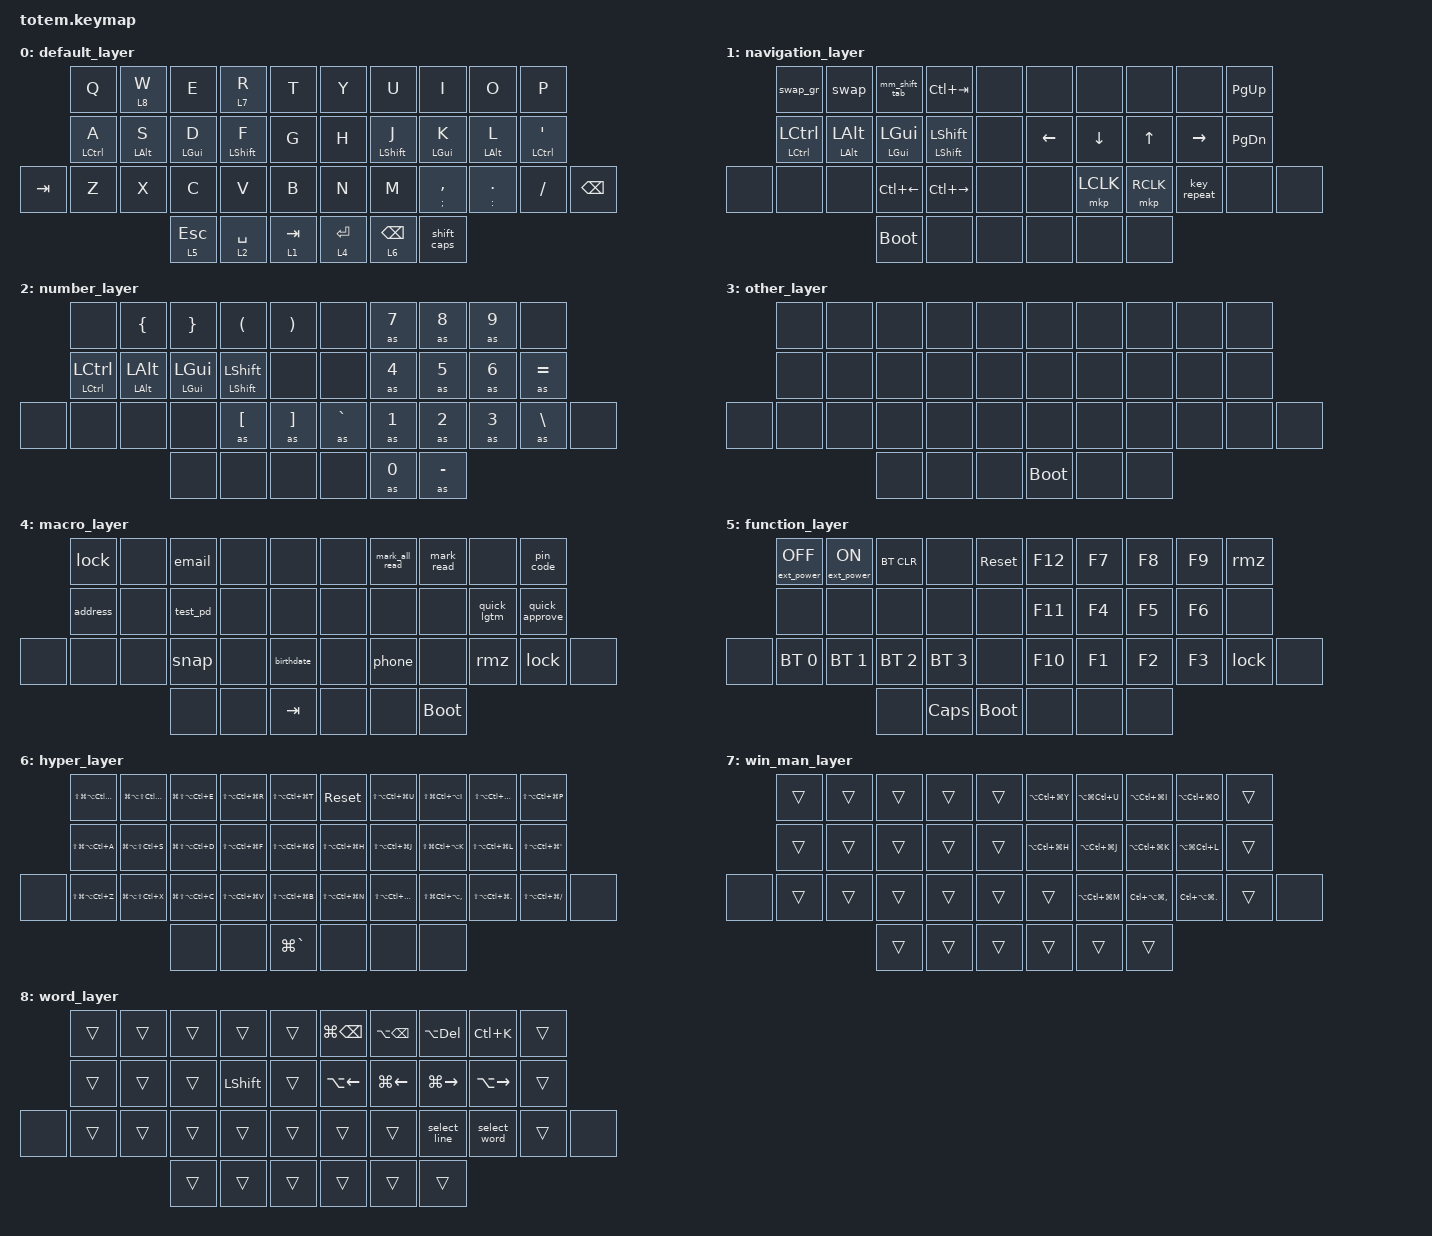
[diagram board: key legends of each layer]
//
//                                                        ▀▀▀▀▀     ▀▀▀▀▀          ▀▀█▀▀
//                                                        ▄▀▀▀▄  ▄  ▄▀▀▀▄  ▄  ▄▀▀▀▄  █  ▄▀▀▀▄
//                                                        █   █  █  █   █  █  █   █  █  █   █
//                                                         ▀▀▀   █   ▀▀▀   █   ▀▀▀   ▀   ▀▀▀
//                                                               █      ▄▄▄█▄▄▄    █   █  
//                                                               ▀      █  █  █     █▄█
//                                                             ▀▀▀▀▀    █  █  █      ▀
//                                                                      ▀  ▀  ▀
//
// ▄▄▄▄▄▄▄▄▄▄▄▄▄▄▄▄▄▄▄▄▄▄▄▄▄▄▄▄▄▄▄▄▄▄▄▄▄▄▄▄▄▄▄▄▄▄▄▄▄▄▄▄▄▄▄▄▄▄▄▄▄▄▄▄▄▄▄▄▄▄▄▄▄▄▄▄▄▄▄▄▄▄▄▄▄▄▄▄▄▄▄▄▄▄▄▄▄▄▄▄▄▄▄▄▄▄▄▄▄▄▄▄▄▄▄▄▄▄▄▄▄▄▄▄▄▄▄▄▄▄▄▄▄▄▄▄▄▄▄▄▄▄▄▄▄▄▄▄▄

#include <dt-bindings/zmk/mouse.h>
#include <behaviors.dtsi>
#include <dt-bindings/zmk/bt.h>
#include <dt-bindings/zmk/ext_power.h>
#include <dt-bindings/zmk/keys.h>
#include <dt-bindings/zmk/pointing.h>

&sk { release-after-ms = <60000>; };

/ {
    macros {
        lock: lock {
            compatible = "zmk,behavior-macro";
            #binding-cells = <0>;
            bindings = <&kp LG(LC(Q))>;
            label = "LOCK";
        };

        email: email {
            compatible = "zmk,behavior-macro";
            #binding-cells = <0>;
            bindings = <&kp S>;
            label = "EMAIL";
        };

        phone: phone {
            compatible = "zmk,behavior-macro";
            #binding-cells = <0>;
            bindings = <&kp N9>;
            label = "PHONE";
        };

        snap: snap {
            compatible = "zmk,behavior-macro";
            #binding-cells = <0>;
            bindings = <&kp LG(LC(LS(N4)))>;
            label = "SNAP";
        };

        address: address {
            compatible = "zmk,behavior-macro";
            #binding-cells = <0>;
            bindings = <&kp LS(A)>;
            label = "ADDRESS";
        };

        mark_all_read: mark_all_read {
            compatible = "zmk,behavior-macro";
            #binding-cells = <0>;
            bindings = <&kp STAR &kp U &kp LS(I) &kp STAR &kp N>;
            label = "MARK_ALL_READ";
        };

        smart_period: smart_period {
            compatible = "zmk,behavior-macro";
            #binding-cells = <0>;
            bindings = <&kp DOT &sl 0>;
            label = "SMART_PERIOD";
        };

        smart_qmark: smart_qmark {
            compatible = "zmk,behavior-macro";
            #binding-cells = <0>;
            bindings = <&kp QMARK &sl 0>;
            label = "SMART_QMARK";
        };

        smart_space: smart_space {
            compatible = "zmk,behavior-macro";
            #binding-cells = <0>;
            bindings = <&kp SPACE &fast_sk LSHIFT>;
            label = "SMART_SPACE";
        };

        quick_approve: quick_approve {
            compatible = "zmk,behavior-macro";
            #binding-cells = <0>;
            bindings =
                <&macro_wait_time 100>,
                <&kp LG(F)>,
                <&macro_wait_time 10>,
                <&kp LS(Q) &kp U &kp I &kp C &kp K &kp SPACE &kp LS(A) &kp P &kp P &kp R &kp O &kp V &kp E>,
                <&macro_wait_time 100>,
                <&kp RET &kp ESC &kp RET>;

            label = "QUICK_APPROVE";
        };

        quick_lgtm: quick_lgtm {
            compatible = "zmk,behavior-macro";
            #binding-cells = <0>;
            bindings =
                <&macro_wait_time 100>,
                <&kp LG(F)>,
                <&macro_wait_time 10>,
                <&kp LS(Q) &kp U &kp I &kp C &kp K &kp SPACE &kp LS(L) &kp LS(G) &kp LS(T) &kp LS(M)>,
                <&macro_wait_time 100>,
                <&kp RET &kp ESC &kp RET>;

            label = "QUICK_LGTM";
        };

        select_word: select_word {
            compatible = "zmk,behavior-macro";
            #binding-cells = <0>;
            bindings = <&kp LA(RIGHT) &kp LA(LEFT) &kp LA(LS(RIGHT))>;
            label = "SELECT_WORD";
        };

        select_line: select_line {
            compatible = "zmk,behavior-macro";
            #binding-cells = <0>;
            bindings = <&kp LG(RIGHT) &kp LG(LEFT) &kp LS(LG(RIGHT))>;
            label = "SELECT_LINE";
        };

        test_pd: test_pd {
            compatible = "zmk,behavior-macro";
            #binding-cells = <0>;
            bindings = <&kp LS(D)>;
            label = "TEST_PD";
        };

        pin_code: pin_code {
            compatible = "zmk,behavior-macro";
            #binding-cells = <0>;
            bindings = <&kp N5>;
            label = "PIN_CODE";
        };

        birthdate: birthdate {
            compatible = "zmk,behavior-macro";
            #binding-cells = <0>;
            bindings = <&kp N1>;
            label = "BIRTHDATE";
        };

        rmz: rmz {
            compatible = "zmk,behavior-macro";
            #binding-cells = <0>;
            bindings = <&kp LS(Q)>;
            label = "RMZ";
        };

        shifted: macro_shifted_kp {
            #binding-cells = <1>;
            label = "MACRO_SHIFTED_KP";
            compatible = "zmk,behavior-macro-one-param";
            bindings =
                <&macro_press>,
                <&kp LSHFT &macro_param_1to1>,
                <&macro_tap>,
                <&kp MACRO_PLACEHOLDER>,
                <&macro_release>,
                <&kp LSHFT>;
        };

        as: autoshift {
            compatible = "zmk,behavior-macro-one-param";
            #binding-cells = <1>;
            label = "AUTOSHIFT_KP";
            bindings =
                <&macro_press>,
                <&macro_param_1to1 &macro_param_1to2 &as_ht MACRO_PLACEHOLDER MACRO_PLACEHOLDER>,
                <&macro_pause_for_release>,
                <&macro_release>,
                <&macro_param_1to1 &macro_param_1to2 &as_ht MACRO_PLACEHOLDER MACRO_PLACEHOLDER>;
        };

        m_release_key_twice: m_release_key_twice {
            compatible = "zmk,behavior-macro-one-param";
            #binding-cells = <1>;
            bindings =
                <&macro_release>,
                <&macro_param_1to1 &kp MACRO_PLACEHOLDER &macro_param_1to1 &kp MACRO_PLACEHOLDER>;

            label = "M_RELEASE_KEY_TWICE";
        };

        m_press_key_twice: m_press_key_twice {
            compatible = "zmk,behavior-macro-one-param";
            #binding-cells = <1>;
            bindings =
                <&macro_press>,
                <&macro_param_1to1 &kp MACRO_PLACEHOLDER &macro_param_1to1 &kp MACRO_PLACEHOLDER>,
                <&macro_pause_for_release>,
                <&macro_tap>,
                <&m_release_key_twice KP_NUMBER_0>;

            label = "M_PRESS_KEY_TWICE";
        };

        m_hold_mod_press_key: m_hold_mod_press_key {
            compatible = "zmk,behavior-macro-two-param";
            #binding-cells = <2>;
            bindings =
                <&macro_press>,
                <&macro_param_1to1 &kp MACRO_PLACEHOLDER>,
                <&macro_tap>,
                <&macro_param_2to1 &kp MACRO_PLACEHOLDER>;

            label = "M_HOLD_MOD_PRESS_KEY";
        };

        la: la {
            compatible = "zmk,behavior-macro-one-param";
            #binding-cells = <1>;
            bindings =
                <&macro_press>,
                <&macro_param_1to1 &mo MACRO_PLACEHOLDER>,
                <&macro_pause_for_release>,
                <&macro_release>,
                <&macro_param_1to1 &mo MACRO_PLACEHOLDER &kp LSHFT &kp LCTRL &kp LALT &kp LGUI>;

            label = "LA";
        };

        mark_read: mark_read {
            compatible = "zmk,behavior-macro";
            #binding-cells = <0>;
            bindings = <&kp LS(I) &kp STAR &kp N>;
            label = "MARK_READ";
        };
    };

    behaviors {
        hml: homerow_mods_left {
            compatible = "zmk,behavior-hold-tap";
            label = "HOMEROW_MODS_LEFT_HAND";
            bindings = <&kp>, <&kp>;

            #binding-cells = <2>;
            tapping-term-ms = <200>;
            hold-trigger-key-positions = <5 6 7 8 9 16 17 18 19 20 21 30 31 32 33 34 35 40 41 42 43>;
            quick-tap-ms = <175>;
            flavor = "tap-preferred";
            hold-trigger-on-release;
            require-prior-idle-ms = <0>;
        };

        hmr: homerow_mods_right {
            compatible = "zmk,behavior-hold-tap";
            label = "HOMEROW_MODS_RIGHT_HAND";
            bindings = <&kp>, <&kp>;

            #binding-cells = <2>;
            tapping-term-ms = <200>;
            hold-trigger-key-positions = <0 1 2 3 4 10 11 12 13 14 15 22 23 24 25 26 27 36 37 38 39>;
            quick-tap-ms = <175>;
            flavor = "tap-preferred";
            hold-trigger-on-release;
            require-prior-idle-ms = <50>;
        };

        fast_sk: fast_sticky_key {
            compatible = "zmk,behavior-sticky-key";
            label = "FAST_STICKY_KEY";
            bindings = <&kp>;
            #binding-cells = <1>;
            quick-release;
            release-after-ms = <1000>;
            ignore-modifiers;
        };

        caps_wrd: caps_wrd {
            compatible = "zmk,behavior-caps-word";
            label = "CAPS_WRD";
            #binding-cells = <0>;
            continue-list = <UNDERSCORE MINUS DELETE BACKSPACE>;
        };

        as_ht: autoshift_hold_tap {
            compatible = "zmk,behavior-hold-tap";
            label = "AUTOSHIFT_HOLD_TAP";
            #binding-cells = <2>;
            tapping-term-ms = <135>;
            flavor = "tap-preferred";
            bindings = <&shifted>, <&kp>;
        };

        shift_caps: shift_caps {
            compatible = "zmk,behavior-tap-dance";
            label = "SHIFT_CAPS";
            #binding-cells = <0>;
            bindings = <&smart_shift_lt 3 LEFT_SHIFT>, <&caps_wrd>;
        };

        sticky_ht: sticky_ht {
            compatible = "zmk,behavior-hold-tap";
            label = "STICKY_HT";
            bindings = <&kp>, <&fast_sk>;

            #binding-cells = <2>;
            tapping-term-ms = <200>;
            flavor = "tap-preferred";
        };

        swap: swapper {
            compatible = "zmk,behavior-tri-state";
            label = "SWAPPER";
            #binding-cells = <0>;
            bindings = <&kt LGUI>, <&kp TAB>, <&kt LGUI>;

            ignored-key-positions = <2>;
        };

        swap_gr: swapper_win {
            compatible = "zmk,behavior-tri-state";
            label = "WINDOW SWAPPER";
            #binding-cells = <0>;
            bindings = <&kt LGUI>, <&kp GRAVE>, <&kt LGUI>;
        };

        tabber: tabber {
            compatible = "zmk,behavior-tri-state";
            label = "TABBER";
            #binding-cells = <0>;
            bindings = <&kt LCTRL>, <&kp TAB>, <&kt LCTRL>;

            ignored-key-positions = <2>;
        };

        ht_kp: ht_kp {
            compatible = "zmk,behavior-hold-tap";
            label = "HT_KP";
            bindings = <&kp>, <&kp>;

            #binding-cells = <2>;
            tapping-term-ms = <100>;
            flavor = "tap-preferred";
        };

        mm_shift_tab: mm_shift_tab {
            compatible = "zmk,behavior-mod-morph";
            label = "MM_SHIFT_TAB";
            bindings = <&kp LC(LS(TAB))>, <&kp LS(TAB)>;

            #binding-cells = <0>;
            mods = <(MOD_LGUI|MOD_RGUI)>;
            keep-mods = <(MOD_LGUI|MOD_RGUI)>;
        };

        smart_shift_lt: smart_shift_lt {
            compatible = "zmk,behavior-hold-tap";
            label = "SMART_SHIFT_LT";
            bindings = <&lt>, <&fast_sk>;

            #binding-cells = <2>;
            tapping-term-ms = <200>;
            quick-tap-ms = <175>;
            flavor = "tap-preferred";
            hold-trigger-on-release;
            require-prior-idle-ms = <0>;
            hold-trigger-key-positions = <0 1 2 3 4 5 6 7 8 9 10 11 12 13 14 15 16 17 18 19 20 21 22 23 24 25 26 27 28 29 30 31 32 33 34 35 36 37 38 39 40 41 42 43>;
        };
    };

    combos { compatible = "zmk,combos"; };

    keymap {
        compatible = "zmk,keymap";

        default_layer {
            bindings = <
         &kp Q         &lt 8 W      &kp E        &lt 7 R            &kp T        &kp Y      &kp U            &kp I              &kp O             &kp P
         &hml LCTRL A  &hml LALT S  &hml LGUI D  &hml LEFT_SHIFT F  &kp G        &kp H      &hmr LSHIFT J    &hmr LGUI K        &hmr LALT L       &hmr LCTRL SQT
&kp TAB  &kp Z         &kp X        &kp C        &kp V              &kp B        &kp N      &kp M            &ht_kp SEMI COMMA  &ht_kp COLON DOT  &kp SLASH       &kp BACKSPACE
                                    &lt 5 ESC    &lt 2 SPACE        &lt 1 TAB    &lt 4 RET  &lt 6 BACKSPACE  &shift_caps
            >;
        };

        navigation_layer {
            bindings = <
       &swap_gr                &swap                 &mm_shift_tab         &kp LC(TAB)               &none    &none     &none      &none      &none        &kp PAGE_UP
       &sticky_ht LCTRL LCTRL  &sticky_ht LALT LALT  &sticky_ht LGUI LGUI  &sticky_ht LSHIFT LSHIFT  &none    &kp LEFT  &kp DOWN   &kp UP     &kp RIGHT    &kp PAGE_DOWN
&none  &none                   &none                 &kp LC(LEFT)          &kp LC(RIGHT)             &none    &none     &mkp LCLK  &mkp RCLK  &key_repeat  &none          &none
                                                     &bootloader           &none                     &none    &none     &none      &none
            >;
        };

        number_layer {
            bindings = <
       &none                   &kp LBRC              &kp RBRC              &kp LPAR                  &kp RPAR    &none      &as N7  &as N8     &as N9  &none
       &sticky_ht LCTRL LCTRL  &sticky_ht LALT LALT  &sticky_ht LGUI LGUI  &sticky_ht LSHIFT LSHIFT  &none       &none      &as N4  &as N5     &as N6  &as EQUAL
&none  &none                   &none                 &none                 &as LBKT                  &as RBKT    &as GRAVE  &as N1  &as N2     &as N3  &as BSLH   &none
                                                     &none                 &none                     &none       &none      &as N0  &as MINUS
            >;
        };

        other_layer {
            bindings = <
       &none  &none  &none  &none  &none    &none        &none  &none  &none  &none
       &none  &none  &none  &none  &none    &none        &none  &none  &none  &none
&none  &none  &none  &none  &none  &none    &none        &none  &none  &none  &none  &none
                     &none  &none  &none    &bootloader  &none  &none
            >;
        };

        macro_layer {
            bindings = <
       &lock     &none  &email    &none  &none         &none  &mark_all_read  &mark_read   &none        &pin_code
       &address  &none  &test_pd  &none  &none         &none  &none           &none        &quick_lgtm  &quick_approve
&none  &none     &none  &snap     &none  &birthdate    &none  &phone          &none        &rmz         &lock           &none
                        &none     &none  &kp TAB       &none  &none           &bootloader
            >;
        };

        function_layer {
            bindings = <
       &ext_power EP_OFF  &ext_power EP_ON  &bt BT_CLR    &none         &sys_reset     &kp F12  &kp F7  &kp F8  &kp F9  &rmz
       &none              &none             &none         &none         &none          &kp F11  &kp F4  &kp F5  &kp F6  &none
&none  &bt BT_SEL 0       &bt BT_SEL 1      &bt BT_SEL 2  &bt BT_SEL 3  &none          &kp F10  &kp F1  &kp F2  &kp F3  &lock  &none
                                            &none         &kp CAPSLOCK  &bootloader    &none    &none   &none
            >;
        };

        hyper_layer {
            bindings = <
       &kp LS(LG(LA(LC(Q))))  &kp LG(LA(LS(LC(W))))  &kp LG(LS(LA(LC(E))))  &kp LS(LA(LC(LG(R))))  &kp LS(LA(LC(LG(T))))    &sys_reset             &kp LS(LA(LC(LG(U))))  &kp LS(LG(LC(LA(I))))      &kp LS(LA(LC(LG(O))))    &kp LS(LA(LC(LG(P))))
       &kp LS(LG(LA(LC(A))))  &kp LG(LA(LS(LC(S))))  &kp LG(LS(LA(LC(D))))  &kp LS(LA(LC(LG(F))))  &kp LS(LA(LC(LG(G))))    &kp LS(LA(LC(LG(H))))  &kp LS(LA(LC(LG(J))))  &kp LS(LG(LC(LA(K))))      &kp LS(LA(LC(LG(L))))    &kp LS(LA(LC(LG(SQT))))
&none  &kp LS(LG(LA(LC(Z))))  &kp LG(LA(LS(LC(X))))  &kp LG(LS(LA(LC(C))))  &kp LS(LA(LC(LG(V))))  &kp LS(LA(LC(LG(B))))    &kp LS(LA(LC(LG(N))))  &kp LS(LA(LC(LG(M))))  &kp LS(LG(LC(LA(COMMA))))  &kp LS(LA(LC(LG(DOT))))  &kp LS(LA(LC(LG(FSLH))))  &none
                                                     &none                  &none                  &kp LG(GRAVE)            &none                  &none                  &none
            >;
        };

        win_man_layer {
            bindings = <
       &trans  &trans  &trans  &trans  &trans    &kp LA(LC(LG(Y)))  &kp LA(LG(LC(U)))  &kp LA(LC(LG(I)))      &kp LA(LC(LG(O)))    &trans
       &trans  &trans  &trans  &trans  &trans    &kp LA(LC(LG(H)))  &kp LA(LC(LG(J)))  &kp LA(LC(LG(K)))      &kp LA(LG(LC(L)))    &trans
&none  &trans  &trans  &trans  &trans  &trans    &trans             &kp LA(LC(LG(M)))  &kp LC(LA(LG(COMMA)))  &kp LC(LA(LG(DOT)))  &trans  &none
                       &trans  &trans  &trans    &trans             &trans             &trans
            >;
        };

        word_layer {
            bindings = <
       &trans  &trans  &trans  &trans     &trans    &kp LG(BACKSPACE)  &kp LA(BACKSPACE)  &kp LA(DELETE)  &kp LC(K)      &trans
       &trans  &trans  &trans  &kp LSHFT  &trans    &kp LA(LEFT)       &kp LG(LEFT)       &kp LG(RIGHT)   &kp LA(RIGHT)  &trans
&none  &trans  &trans  &trans  &trans     &trans    &trans             &trans             &select_line    &select_word   &trans  &none
                       &trans  &trans     &trans    &trans             &trans             &trans
            >;
        };
    };
};
